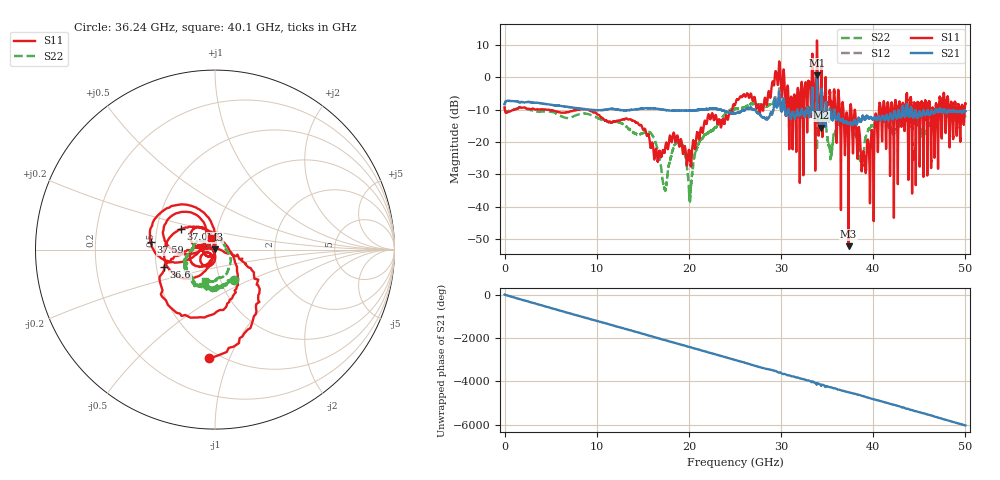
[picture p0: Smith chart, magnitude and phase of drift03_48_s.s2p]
!Created with skrf (http://scikit-rf.org).
# Hz S RI R 50.0
!freq ReS11 ImS11 ReS21 ImS21 ReS12 ImS12 ReS22 ImS22
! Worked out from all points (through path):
!   10001 points, 300 kHz to 50 GHz, reference 50 ohm
!   highest |S21| = 0.55 dB at 33.9 GHz (marker M1); lowest = -15.6 dB at 34.32 GHz (marker M2)
!   group delay of S21, straight-line fit = 335 ps
!   lowest |S11| = -52.1 dB at 37.33 GHz (marker M3), VSWR 1.00, Z = 50 + j0.247 ohm
!   |S11| at or under -10 dB: 4.474 GHz to 8.189 GHz (3.715 GHz wide, 58.7 % of centre); 9.025 GHz to 24.7 GHz (15.67 GHz wide, 92.9 % of centre); 37.62 GHz to 40.62 GHz (3.001 GHz wide, 7.67 % of centre) (the widest 3 of 57)
!   |S22| runs from -38.4 to -5.9 dB; largest |S21 - S12| = 0.11
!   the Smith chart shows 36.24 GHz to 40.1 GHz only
!   S11 on the Smith chart (normalised r, x): 36.24 GHz: 0.44, -0.84; 36.6 GHz: 0.55, -0.12; 37.04 GHz: 0.67, +0.16; 37.59 GHz: 0.47, +0.05; 40.1 GHz: 0.95, +0.12
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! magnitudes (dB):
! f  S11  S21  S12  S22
! 300 kHz  -9.3  -8.4  -8.4  -9.3
! 8.335 GHz  -9.9  -9.8  -9.8  -11.3
! 16.67 GHz  -25.5  -9.8  -9.8  -23.2
! 17.39 GHz  -22.7  -10.1  -10.1  -34.9
! 19.07 GHz  -19.8  -10.3  -10.3  -20.0
! 20.13 GHz  -24.5  -10.3  -10.3  -36.1
! 21.19 GHz  -17.9  -10.1  -10.1  -19.7
! 25 GHz  -8.6  -11.1  -11.1  -9.8
! 31.08 GHz  -6.1  -12.6  -12.7  -10.5
! 33.34 GHz  0.5  -7.5  -7.6  -9.4
! 33.9 GHz  11.3  0.6  0.1  -22.6
! 34.32 GHz  -2.9  -15.6  -14.9  -11.3
! 35.35 GHz  -6.7  -10.6  -10.0  -24.4
! 36.24 GHz  -4.4  -11.8  -11.7  -14.0
! 36.6 GHz  -10.5  -13.1  -13.0  -13.8
! 37.04 GHz  -13.1  -13.8  -14.0  -13.6
! 37.33 GHz  -52.1  -14.4  -14.5  -13.5
! 37.59 GHz  -8.8  -13.9  -13.9  -14.0
! 38.71 GHz  -26.8  -13.4  -13.3  -25.3
! 40.1 GHz  -23.6  -12.6  -12.6  -14.8
! 41.67 GHz  -9.5  -13.3  -13.2  -14.6
! 50 GHz  -8.1  -10.5  -10.6  -12.1
